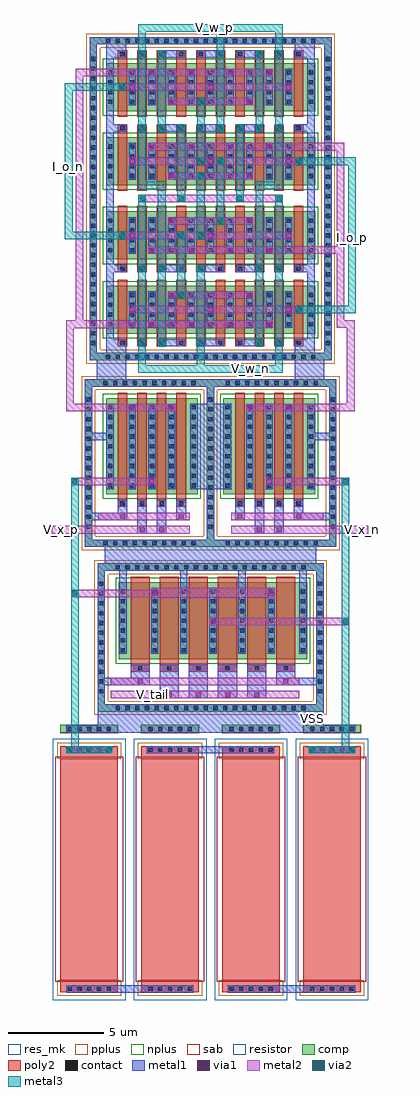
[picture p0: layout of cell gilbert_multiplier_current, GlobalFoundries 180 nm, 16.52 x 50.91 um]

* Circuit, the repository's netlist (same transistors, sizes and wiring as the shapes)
* NGSPICE file created from gilbert_multiplier_current.ext - technology: gf180mcuD

.subckt gilbert_multiplier_current VSS V_tail V_x_p V_x_n V_w_n V_w_p I_o_p I_o_n
X0 I_o_p V_w_p a_2162_8114# VSS nfet_03v3 ad=0.65p pd=3.02u as=0.65p ps=3.02u w=2.5u l=0.5u
X1 a_2162_8114# V_w_p I_o_p VSS nfet_03v3 ad=0.65p pd=3.02u as=0.65p ps=3.02u w=2.5u l=0.5u
X2 a_2799_3944# V_x_n a_2162_8114# VSS nfet_03v3 ad=1.3p pd=5.52u as=1.3p ps=5.52u w=5u l=0.5u
X3 a_2162_8114# V_w_n I_o_n VSS nfet_03v3 ad=0.65p pd=3.02u as=0.65p ps=3.02u w=2.5u l=0.5u
X4 I_o_p V_w_n a_1958_5664# VSS nfet_03v3 ad=0.65p pd=3.02u as=0.65p ps=3.02u w=2.5u l=0.5u
X5 a_2799_3944# V_tail VSS VSS nfet_03v3 ad=1.04p pd=4.52u as=1.04p ps=4.52u w=4u l=1u
X6 I_o_n VSS VSS VSS nfet_03v3 ad=0.65p pd=3.02u as=1.525p ps=6.22u w=2.5u l=0.5u
X7 I_o_n V_w_p a_1958_5664# VSS nfet_03v3 ad=0.65p pd=3.02u as=0.65p ps=3.02u w=2.5u l=0.5u
X8 I_o_p VSS VSS VSS nfet_03v3 ad=0.65p pd=3.02u as=1.525p ps=6.22u w=2.5u l=0.5u
X9 a_1958_5664# V_w_p I_o_n VSS nfet_03v3 ad=0.65p pd=3.02u as=0.65p ps=3.02u w=2.5u l=0.5u
X10 a_1958_5664# VSS VSS VSS nfet_03v3 ad=1.3p pd=5.52u as=3.05p ps=11.22u w=5u l=0.5u
X11 a_1958_5664# V_w_n I_o_p VSS nfet_03v3 ad=0.65p pd=3.02u as=0.65p ps=3.02u w=2.5u l=0.5u
X12 a_2162_8114# V_w_n I_o_n VSS nfet_03v3 ad=0.65p pd=3.02u as=0.65p ps=3.02u w=2.5u l=0.5u
X13 a_2162_8114# V_w_p I_o_p VSS nfet_03v3 ad=0.65p pd=3.02u as=0.65p ps=3.02u w=2.5u l=0.5u
X14 VSS VSS I_o_n VSS nfet_03v3 ad=1.525p pd=6.22u as=0.65p ps=3.02u w=2.5u l=0.5u
X15 I_o_p VSS VSS VSS nfet_03v3 ad=0.65p pd=3.02u as=1.525p ps=6.22u w=2.5u l=0.5u
X16 a_1260_2906# V_x_p a_1958_5664# VSS nfet_03v3 ad=1.3p pd=5.52u as=1.3p ps=5.52u w=5u l=0.5u
X17 a_1260_2906# VSS VSS VSS nfet_03v3 ad=1.04p pd=4.52u as=2.44p ps=9.22u w=4u l=1u
X18 VSS VSS a_2162_8114# VSS nfet_03v3 ad=3.05p pd=11.22u as=1.3p ps=5.52u w=5u l=0.5u
X19 VSS VSS I_o_p VSS nfet_03v3 ad=1.525p pd=6.22u as=0.65p ps=3.02u w=2.5u l=0.5u
X20 a_1260_2906# a_1260_468# VSS ppolyf_u_1k r_width=3u r_length=11.55u
X21 I_o_n VSS VSS VSS nfet_03v3 ad=0.65p pd=3.02u as=1.525p ps=6.22u w=2.5u l=0.5u
X22 a_1958_5664# V_w_n I_o_p VSS nfet_03v3 ad=0.65p pd=3.02u as=0.65p ps=3.02u w=2.5u l=0.5u
X23 VSS V_tail a_2799_3944# VSS nfet_03v3 ad=1.04p pd=4.52u as=1.04p ps=4.52u w=4u l=1u
X24 a_1958_5664# V_w_p I_o_n VSS nfet_03v3 ad=0.65p pd=3.02u as=0.65p ps=3.02u w=2.5u l=0.5u
X25 VSS VSS I_o_p VSS nfet_03v3 ad=1.525p pd=6.22u as=0.65p ps=3.02u w=2.5u l=0.5u
X26 a_2162_8114# V_w_p I_o_p VSS nfet_03v3 ad=0.65p pd=3.02u as=0.65p ps=3.02u w=2.5u l=0.5u
X27 a_2162_8114# V_w_n I_o_n VSS nfet_03v3 ad=0.65p pd=3.02u as=0.65p ps=3.02u w=2.5u l=0.5u
X28 VSS VSS a_1260_2906# VSS nfet_03v3 ad=2.44p pd=9.22u as=1.04p ps=4.52u w=4u l=1u
X29 VSS VSS I_o_n VSS nfet_03v3 ad=1.525p pd=6.22u as=0.65p ps=3.02u w=2.5u l=0.5u
X30 a_2162_8114# V_w_p I_o_p VSS nfet_03v3 ad=0.65p pd=3.02u as=0.65p ps=3.02u w=2.5u l=0.5u
X31 VSS VSS a_1958_5664# VSS nfet_03v3 ad=3.05p pd=11.22u as=1.3p ps=5.52u w=5u l=0.5u
X32 a_2162_8114# V_w_n I_o_n VSS nfet_03v3 ad=0.65p pd=3.02u as=0.65p ps=3.02u w=2.5u l=0.5u
X33 I_o_p V_w_p a_2162_8114# VSS nfet_03v3 ad=0.65p pd=3.02u as=0.65p ps=3.02u w=2.5u l=0.5u
X34 I_o_n V_w_n a_2162_8114# VSS nfet_03v3 ad=0.65p pd=3.02u as=0.65p ps=3.02u w=2.5u l=0.5u
X35 a_1958_5664# V_w_n I_o_p VSS nfet_03v3 ad=0.65p pd=3.02u as=0.65p ps=3.02u w=2.5u l=0.5u
X36 a_2162_8114# VSS VSS VSS nfet_03v3 ad=1.3p pd=5.52u as=3.05p ps=11.22u w=5u l=0.5u
X37 a_1958_5664# V_w_p I_o_n VSS nfet_03v3 ad=0.65p pd=3.02u as=0.65p ps=3.02u w=2.5u l=0.5u
X38 a_1958_5664# V_w_p I_o_n VSS nfet_03v3 ad=0.65p pd=3.02u as=0.65p ps=3.02u w=2.5u l=0.5u
X39 a_2104_2906# a_1260_468# VSS ppolyf_u_1k r_width=3u r_length=11.55u
X40 a_1958_5664# V_w_n I_o_p VSS nfet_03v3 ad=0.65p pd=3.02u as=0.65p ps=3.02u w=2.5u l=0.5u
X41 I_o_n V_w_p a_1958_5664# VSS nfet_03v3 ad=0.65p pd=3.02u as=0.65p ps=3.02u w=2.5u l=0.5u
X42 I_o_p V_w_p a_2162_8114# VSS nfet_03v3 ad=0.65p pd=3.02u as=0.65p ps=3.02u w=2.5u l=0.5u
X43 I_o_p V_w_n a_1958_5664# VSS nfet_03v3 ad=0.65p pd=3.02u as=0.65p ps=3.02u w=2.5u l=0.5u
X44 a_1958_5664# V_x_p a_1260_2906# VSS nfet_03v3 ad=1.3p pd=5.52u as=1.3p ps=5.52u w=5u l=0.5u
X45 I_o_n V_w_n a_2162_8114# VSS nfet_03v3 ad=0.65p pd=3.02u as=0.65p ps=3.02u w=2.5u l=0.5u
X46 I_o_n V_w_n a_2162_8114# VSS nfet_03v3 ad=0.65p pd=3.02u as=0.65p ps=3.02u w=2.5u l=0.5u
X47 a_2162_8114# V_x_n a_2799_3944# VSS nfet_03v3 ad=1.3p pd=5.52u as=1.3p ps=5.52u w=5u l=0.5u
X48 I_o_p V_w_p a_2162_8114# VSS nfet_03v3 ad=0.65p pd=3.02u as=0.65p ps=3.02u w=2.5u l=0.5u
X49 I_o_n V_w_p a_1958_5664# VSS nfet_03v3 ad=0.65p pd=3.02u as=0.65p ps=3.02u w=2.5u l=0.5u
X50 VSS V_tail a_1260_2906# VSS nfet_03v3 ad=1.04p pd=4.52u as=1.04p ps=4.52u w=4u l=1u
X51 I_o_p V_w_n a_1958_5664# VSS nfet_03v3 ad=0.65p pd=3.02u as=0.65p ps=3.02u w=2.5u l=0.5u
X52 I_o_p V_w_n a_1958_5664# VSS nfet_03v3 ad=0.65p pd=3.02u as=0.65p ps=3.02u w=2.5u l=0.5u
X53 a_2104_2906# a_2948_468# VSS ppolyf_u_1k r_width=3u r_length=11.55u
X54 a_2799_3944# a_2948_468# VSS ppolyf_u_1k r_width=3u r_length=11.55u
X55 I_o_n V_w_n a_2162_8114# VSS nfet_03v3 ad=0.65p pd=3.02u as=0.65p ps=3.02u w=2.5u l=0.5u
X56 a_1260_2906# V_tail VSS VSS nfet_03v3 ad=1.04p pd=4.52u as=1.04p ps=4.52u w=4u l=1u
X57 I_o_n V_w_p a_1958_5664# VSS nfet_03v3 ad=0.65p pd=3.02u as=0.65p ps=3.02u w=2.5u l=0.5u
.ends

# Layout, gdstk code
from math import pi, radians
import gdstk
lib = gdstk.Library(unit=1e-6, precision=5e-09)
def R(c, l, rs):  # rectangles x0, y0, x1, y1
    for r in rs: c.add(gdstk.rectangle(r[:2], r[2:], *l))
def A(c, l, x, y, w, h, nx, ny, dx, dy):  # array of equal rectangles
    R(c, l, [(x+i*dx, y+j*dy, x+i*dx+w, y+j*dy+h) for i in range(nx) for j in range(ny)])
def P(c, l, *ps):  # polygons
    for p in ps: c.add(gdstk.Polygon(p, *l))
comp = (22, 0)
poly2 = (30, 0)
pplus = (31, 0)
nplus = (32, 0)
contact = (33, 0)
metal1 = (34, 0)
via1 = (35, 0)
metal2 = (36, 0)
via2 = (38, 0)
metal3 = (42, 0)
sab = (49, 0)
resistor = (62, 0)
res_mk = (110, 5)

ppolyf_u_high_rs_resisto = lib.new_cell('ppolyf_u_high_Rs_resistor')
R(ppolyf_u_high_rs_resisto, comp, [(-1.76,0,-1.34,3)])
R(ppolyf_u_high_rs_resisto, poly2, [(-0.64,0,12.19,3)])
R(ppolyf_u_high_rs_resisto, pplus, [(-0.82,-0.18,0,3.18), (11.55,-0.18,12.37,3.18), (-1.78,-0.02,-1.32,3.02)])
A(ppolyf_u_high_rs_resisto, contact, -1.66, 0.37, 0.22, 0.22, 1, 5, 0, 0.51)
A(ppolyf_u_high_rs_resisto, contact, -0.57, 0.37, 0.22, 0.22, 1, 5, 0, 0.51)
A(ppolyf_u_high_rs_resisto, contact, 11.9, 0.37, 0.22, 0.22, 1, 5, 0, 0.51)
R(ppolyf_u_high_rs_resisto, metal1, [(-1.74,0.29,-1.36,2.71), (-0.65,0.29,-0.27,2.71), (11.82,0.29,12.2,2.71)])
R(ppolyf_u_high_rs_resisto, sab, [(-0.1,-0.28,11.65,3.28)])
R(ppolyf_u_high_rs_resisto, resistor, [(-1.04,-0.4,12.59,3.4)])
R(ppolyf_u_high_rs_resisto, res_mk, [(0,0,11.55,3)])

via_dev = lib.new_cell('via_dev')
R(via_dev, metal1, [(0,0,0.4,0.4)])
R(via_dev, via1, [(0.07,0.07,0.33,0.33)])
R(via_dev, metal2, [(0,0,0.4,0.4)])
R(via_dev, via2, [(0.07,0.07,0.33,0.33)])
R(via_dev, metal3, [(0,0,0.4,0.4)])

nfet = lib.new_cell('nfet')
R(nfet, comp, [(-0.42,0,0,5), (0,0,3.94,5), (3.94,0,4.36,5)])
P(nfet, comp, [(-1.28,-2.74),(-1.28,5.61),(-0.9,5.61),(-0.9,-2.36),(5.09,-2.36),(5.09,5.61),(-1.28,5.61),(-1.28,5.99),(5.47,5.99),(5.47,-2.74)])
A(nfet, poly2, 0.19, -0.66, 0.5, 0.36, 4, 1, 1.02, 0)
A(nfet, poly2, 0.19, -0.3, 0.5, 5.6, 4, 1, 1.02, 0)
P(nfet, pplus, [(-1.45,-2.91),(-1.45,5.44),(-0.73,5.44),(-0.73,-2.19),(4.92,-2.19),(4.92,5.44),(-1.45,5.44),(-1.45,6.16),(5.64,6.16),(5.64,-2.91)])
R(nfet, nplus, [(-0.59,-0.24,4.53,5.24)])
A(nfet, contact, -0.31, -2.66, 0.22, 0.22, 10, 2, 0.51, 8.35)
A(nfet, contact, -1.2, -1.8, 0.22, 0.22, 1, 14, 0, 0.51)
A(nfet, contact, 5.17, -1.8, 0.22, 0.22, 1, 14, 0, 0.51)
A(nfet, contact, 0.33, -0.59, 0.22, 0.22, 4, 1, 1.02, 0)
A(nfet, contact, -0.32, 0.35, 0.22, 0.22, 1, 9, 0, 0.51)
A(nfet, contact, 0.84, 0.35, 0.22, 0.22, 3, 9, 1.02, 0.51)
A(nfet, contact, 4.04, 0.35, 0.22, 0.22, 1, 9, 0, 0.51)
A(nfet, metal1, 0.25, -0.67, 0.38, 0.38, 4, 1, 1.02, 0)
A(nfet, metal1, 0.76, 0.27, 0.38, 4.46, 3, 1, 1.02, 0)
R(nfet, metal1, [(1.21,-2.05,1.71,-0.29), (2.23,-2.05,2.73,-0.29), (0.19,-1.36,0.69,-0.29), (3.25,-1.36,3.75,-0.29), (-0.4,0.27,-0.02,4.73), (3.96,0.27,4.34,4.73)])
R(nfet, via1, [(1.33,-1.98,1.59,-1.72), (2.35,-1.98,2.61,-1.72), (0.31,-1.29,0.57,-1.03), (3.37,-1.29,3.63,-1.03)])
R(nfet, metal2, [(0,-2.05,4.78,-1.65), (0,-1.36,4.78,-0.96)])

nfet_4 = lib.new_cell('nfet$4')
R(nfet_4, comp, [(-0.42,0,0,4), (0,0,8.98,4), (8.98,0,9.4,4)])
P(nfet_4, comp, [(-1.28,-2.74),(-1.28,4.61),(-0.9,4.61),(-0.9,-2.36),(10.13,-2.36),(10.13,4.61),(-1.28,4.61),(-1.28,4.99),(10.51,4.99),(10.51,-2.74)])
A(nfet_4, poly2, 0.19, -0.66, 1, 0.36, 6, 1, 1.52, 0)
A(nfet_4, poly2, 0.19, -0.3, 1, 4.6, 6, 1, 1.52, 0)
P(nfet_4, pplus, [(-1.45,-2.91),(-1.45,4.44),(-0.73,4.44),(-0.73,-2.19),(9.96,-2.19),(9.96,4.44),(-1.45,4.44),(-1.45,5.16),(10.68,5.16),(10.68,-2.91)])
R(nfet_4, nplus, [(-0.59,-0.24,9.57,4.24)])
A(nfet_4, contact, -0.34, -2.66, 0.22, 0.22, 20, 2, 0.51, 7.35)
A(nfet_4, contact, -1.2, -1.79, 0.22, 0.22, 1, 12, 0, 0.51)
A(nfet_4, contact, 10.21, -1.79, 0.22, 0.22, 1, 12, 0, 0.51)
A(nfet_4, contact, 0.58, -0.59, 0.22, 0.22, 6, 1, 1.52, 0)
A(nfet_4, contact, -0.32, 0.36, 0.22, 0.22, 1, 7, 0, 0.51)
A(nfet_4, contact, 1.34, 0.36, 0.22, 0.22, 5, 7, 1.52, 0.51)
A(nfet_4, contact, 9.08, 0.36, 0.22, 0.22, 1, 7, 0, 0.51)
A(nfet_4, metal1, 1.71, -2.05, 1, 1.76, 4, 1, 1.52, 0)
A(nfet_4, metal1, 0.5, -0.67, 0.38, 0.38, 6, 1, 1.52, 0)
A(nfet_4, metal1, 1.26, 0.28, 0.38, 3.44, 5, 1, 1.52, 0)
R(nfet_4, metal1, [(0.19,-1.36,1.19,-0.29), (7.79,-1.36,8.79,-0.29), (-0.4,0.28,-0.02,3.72), (9,0.28,9.38,3.72)])
A(nfet_4, via1, 2.08, -1.98, 0.26, 0.26, 4, 1, 1.52, 0)
R(nfet_4, via1, [(0.56,-1.29,0.82,-1.03), (8.16,-1.29,8.42,-1.03)])
R(nfet_4, metal2, [(0,-2.05,9.82,-1.65), (0,-1.36,9.82,-0.96)])

gilbert_multiplier_curre = lib.new_cell('gilbert_multiplier_current')
A(gilbert_multiplier_curre, comp, 8.68, 36.7, 0.42, 2.5, 1, 4, 0, 3.87)
A(gilbert_multiplier_curre, comp, 9.1, 36.7, 10.06, 2.5, 1, 4, 0, 3.87)
A(gilbert_multiplier_curre, comp, 19.16, 36.7, 0.42, 2.5, 1, 4, 0, 3.87)
P(gilbert_multiplier_curre, comp, [(7.82,35.31),(7.82,51.785),(8.2,51.785),(8.2,35.69),(20.06,35.69),(20.06,51.785),(7.82,51.785),(7.82,52.165),(20.44,52.165),(20.44,35.31)])
A(gilbert_multiplier_curre, poly2, 9.29, 36.04, 0.5, 0.36, 10, 2, 1.02, 3.87)
A(gilbert_multiplier_curre, poly2, 9.29, 36.4, 0.5, 3.1, 10, 4, 1.02, 3.87)
A(gilbert_multiplier_curre, poly2, 9.29, 47.24, 0.5, 0.36, 10, 2, 1.02, 3.87)
P(gilbert_multiplier_curre, pplus, [(7.65,35.14),(7.65,51.615),(8.37,51.615),(8.37,35.86),(19.89,35.86),(19.89,51.615),(7.65,51.615),(7.65,52.335),(20.61,52.335),(20.61,35.14)])
A(gilbert_multiplier_curre, nplus, 8.51, 36.46, 11.24, 2.98, 1, 4, 0, 3.87)
A(gilbert_multiplier_curre, contact, 8.665, 35.39, 0.22, 0.22, 22, 2, 0.51, 16.475)
A(gilbert_multiplier_curre, contact, 7.9, 36.1, 0.22, 0.22, 1, 23, 0, 0.51)
A(gilbert_multiplier_curre, contact, 20.14, 36.1, 0.22, 0.22, 1, 23, 0, 0.51)
A(gilbert_multiplier_curre, contact, 9.43, 36.11, 0.22, 0.22, 10, 2, 1.02, 3.87)
A(gilbert_multiplier_curre, contact, 8.78, 37.075, 0.22, 0.22, 1, 4, 0, 0.51)
A(gilbert_multiplier_curre, contact, 9.94, 37.075, 0.22, 0.22, 9, 4, 1.02, 0.51)
A(gilbert_multiplier_curre, contact, 19.26, 37.075, 0.22, 0.22, 1, 4, 0, 0.51)
A(gilbert_multiplier_curre, contact, 8.78, 40.945, 0.22, 0.22, 1, 4, 0, 0.51)
A(gilbert_multiplier_curre, contact, 9.94, 40.945, 0.22, 0.22, 9, 4, 1.02, 0.51)
A(gilbert_multiplier_curre, contact, 19.26, 40.945, 0.22, 0.22, 1, 4, 0, 0.51)
A(gilbert_multiplier_curre, contact, 8.78, 44.815, 0.22, 0.22, 1, 4, 0, 0.51)
A(gilbert_multiplier_curre, contact, 9.94, 44.815, 0.22, 0.22, 9, 4, 1.02, 0.51)
A(gilbert_multiplier_curre, contact, 19.26, 44.815, 0.22, 0.22, 1, 4, 0, 0.51)
A(gilbert_multiplier_curre, contact, 9.43, 47.31, 0.22, 0.22, 10, 2, 1.02, 3.87)
A(gilbert_multiplier_curre, contact, 7.9, 47.85, 0.22, 0.22, 1, 7, 0, 0.51)
A(gilbert_multiplier_curre, contact, 20.14, 47.85, 0.22, 0.22, 1, 7, 0, 0.51)
A(gilbert_multiplier_curre, contact, 8.78, 48.685, 0.22, 0.22, 1, 4, 0, 0.51)
A(gilbert_multiplier_curre, contact, 9.94, 48.685, 0.22, 0.22, 9, 4, 1.02, 0.51)
A(gilbert_multiplier_curre, contact, 19.26, 48.685, 0.22, 0.22, 1, 4, 0, 0.51)
A(gilbert_multiplier_curre, metal1, 9.35, 36.03, 0.38, 0.38, 10, 2, 1.02, 3.87)
A(gilbert_multiplier_curre, metal1, 8.7, 36.995, 0.38, 1.91, 1, 4, 0, 3.87)
A(gilbert_multiplier_curre, metal1, 9.86, 36.995, 0.38, 1.91, 9, 4, 1.02, 3.87)
A(gilbert_multiplier_curre, metal1, 19.18, 36.995, 0.38, 1.91, 1, 4, 0, 3.87)
A(gilbert_multiplier_curre, metal1, 9.35, 47.23, 0.38, 0.38, 10, 2, 1.02, 3.87)
R(gilbert_multiplier_curre, metal1, [(6.59,2.33,13.23,2.71), (15.03,2.33,21.67,2.71), (10.81,14.8,17.45,15.18), (6.59,15.89,21.67,16.27), (8.235,15.89,20.025,17.36), (8.615,24.33,19.645,25.96), (13.06,28.59,15.2,33.05), (8.2,33.93,9.73,35.69), (18.53,33.93,20.06,35.69), (8.7,35.31,9.73,36.41), (18.53,35.31,19.56,36.41), (8.7,51.1,9.73,52.165), (18.53,51.1,19.56,52.165)])
A(gilbert_multiplier_curre, via1, 6.65, 14.86, 0.26, 0.26, 3, 1, 1.02, 0)
A(gilbert_multiplier_curre, via1, 19.31, 14.86, 0.26, 0.26, 3, 1, 1.02, 0)
A(gilbert_multiplier_curre, via1, 10.94, 37.055, 0.26, 0.26, 4, 2, 2.04, 3.865)
A(gilbert_multiplier_curre, via1, 9.92, 37.82, 0.26, 0.26, 3, 2, 4.08, 3.865)
A(gilbert_multiplier_curre, via1, 9.92, 45.56, 0.26, 0.26, 3, 2, 4.08, 3.87)
A(gilbert_multiplier_curre, via1, 10.94, 46.325, 0.26, 0.26, 4, 2, 2.04, 3.87)
R(gilbert_multiplier_curre, via1, [(14.13,21.56,14.39,21.82), (11.08,23.03,11.34,23.29), (17.17,23.03,17.43,23.29), (10.94,28.86,11.2,29.12), (17.05,28.86,17.31,29.12), (9.92,32.73,10.18,32.99), (11.96,32.73,12.22,32.99), (16.04,32.73,16.3,32.99), (18.08,32.73,18.34,32.99), (11.96,38.58,12.22,38.84), (16.04,38.58,16.3,38.84), (11.96,42.445,12.22,42.705), (16.04,42.445,16.3,42.705), (11.96,44.8,12.22,45.06), (16.04,44.8,16.3,45.06), (11.96,48.67,12.22,48.93), (16.04,48.67,16.3,48.93)])
R(gilbert_multiplier_curre, metal2, [(6.59,14.8,9.01,15.18), (19.25,14.8,21.67,15.18), (11.025,22.93,17.485,23.44), (9.86,32.65,12.28,33.05), (15.98,32.65,18.4,33.05)])
A(gilbert_multiplier_curre, via2, 6.65, 14.86, 0.26, 0.26, 3, 1, 1.02, 0)
A(gilbert_multiplier_curre, via2, 19.31, 14.86, 0.26, 0.26, 3, 1, 1.02, 0)
R(gilbert_multiplier_curre, via2, [(21.04,21.55,21.3,21.81), (6.915,23.02,7.175,23.28), (6.915,28.86,7.175,29.12), (21.04,28.86,21.3,29.12), (18.63,37.82,18.89,38.08), (12.47,38.59,12.73,38.85), (9.39,41.68,9.65,41.94), (12.47,41.7,12.73,41.96), (13.48,41.7,13.74,41.96), (14.5,42.46,14.76,42.72), (10.45,43.61,10.71,43.87), (12.47,43.61,12.73,43.87), (15.53,43.61,15.79,43.87), (17.57,43.61,17.83,43.87), (13.48,44.8,13.74,45.06), (14.5,45.56,14.76,45.82), (13.49,45.57,13.75,45.83), (18.63,45.57,18.89,45.83), (13.49,48.67,13.75,48.93), (9.39,49.43,9.65,49.69)])
R(gilbert_multiplier_curre, metal3, [(6.59,14.8,9.01,15.18), (19.25,14.8,21.67,15.18)])
gilbert_multiplier_curre.add(gdstk.FlexPath([(9.35,36.22),(8.89,36.22),(8.89,51.29),(9.35,51.29),(9.35,51.29)], 0.38, ends="flush", simple_path=True, layer=34, datatype=0))  # metal1
gilbert_multiplier_curre.add(gdstk.FlexPath([(18.91,36.22),(19.37,36.22),(19.37,51.29),(18.91,51.29)], 0.38, ends="flush", simple_path=True, layer=34, datatype=0))  # metal1
gilbert_multiplier_curre.add(gdstk.FlexPath([(9.73,47.42),(8.7,47.42)], 0.38, ends="flush", simple_path=True, layer=34, datatype=0))  # metal1
gilbert_multiplier_curre.add(gdstk.FlexPath([(9.73,40.09),(8.7,40.09)], 0.38, ends="flush", simple_path=True, layer=34, datatype=0))  # metal1
gilbert_multiplier_curre.add(gdstk.FlexPath([(18.53,47.42),(19.56,47.42)], 0.38, ends="flush", simple_path=True, layer=34, datatype=0))  # metal1
gilbert_multiplier_curre.add(gdstk.FlexPath([(18.53,40.09),(19.56,40.09)], 0.38, ends="flush", simple_path=True, layer=34, datatype=0))  # metal1
gilbert_multiplier_curre.add(gdstk.FlexPath([(11.39,51.29),(12.79,51.29)], 0.38, ends="flush", simple_path=True, layer=34, datatype=0))  # metal1
gilbert_multiplier_curre.add(gdstk.FlexPath([(15.47,51.29),(16.87,51.29)], 0.38, ends="flush", simple_path=True, layer=34, datatype=0))  # metal1
gilbert_multiplier_curre.add(gdstk.FlexPath([(11.39,47.42),(12.79,47.42)], 0.38, ends="flush", simple_path=True, layer=34, datatype=0))  # metal1
gilbert_multiplier_curre.add(gdstk.FlexPath([(15.47,47.42),(16.87,47.42)], 0.38, ends="flush", simple_path=True, layer=34, datatype=0))  # metal1
gilbert_multiplier_curre.add(gdstk.FlexPath([(11.39,40.09),(12.79,40.09)], 0.38, ends="flush", simple_path=True, layer=34, datatype=0))  # metal1
gilbert_multiplier_curre.add(gdstk.FlexPath([(16.87,40.09),(15.47,40.09)], 0.38, ends="flush", simple_path=True, layer=34, datatype=0))  # metal1
gilbert_multiplier_curre.add(gdstk.FlexPath([(11.39,36.22),(12.79,36.22),(12.79,36.22)], 0.38, ends="flush", simple_path=True, layer=34, datatype=0))  # metal1
gilbert_multiplier_curre.add(gdstk.FlexPath([(13.43,36.22),(14.83,36.22)], 0.38, ends="flush", simple_path=True, layer=34, datatype=0))  # metal1
gilbert_multiplier_curre.add(gdstk.FlexPath([(15.47,36.22),(16.87,36.22)], 0.38, ends="flush", simple_path=True, layer=34, datatype=0))  # metal1
gilbert_multiplier_curre.add(gdstk.FlexPath([(13.43,40.09),(14.83,40.09)], 0.38, ends="flush", simple_path=True, layer=34, datatype=0))  # metal1
gilbert_multiplier_curre.add(gdstk.FlexPath([(13.43,47.42),(14.83,47.42)], 0.38, ends="flush", simple_path=True, layer=34, datatype=0))  # metal1
gilbert_multiplier_curre.add(gdstk.FlexPath([(13.43,51.29),(14.83,51.29)], 0.38, ends="flush", simple_path=True, layer=34, datatype=0))  # metal1
gilbert_multiplier_curre.add(gdstk.FlexPath([(8.665,51.975),(20.25,51.975),(20.25,35.5),(8.01,35.5),(8.01,51.975),(8.665,51.975)], 0.38, ends="flush", simple_path=True, layer=34, datatype=0))  # metal1
gilbert_multiplier_curre.add(gdstk.FlexPath([(14.13,33.93),(14.13,25.96)], 0.38, ends="flush", simple_path=True, layer=34, datatype=0))  # metal1
gilbert_multiplier_curre.add(gdstk.FlexPath([(7.76,33.37),(7.76,25.77),(20.5,25.77),(20.5,34.12),(7.76,34.12),(7.76,33.37)], 0.38, ends="flush", simple_path=True, layer=34, datatype=0))  # metal1
gilbert_multiplier_curre.add(gdstk.FlexPath([(9.79,27.16),(7.57,27.16)], 0.4, ends="flush", simple_path=True, layer=34, datatype=0))  # metal1
gilbert_multiplier_curre.add(gdstk.FlexPath([(18.47,27.16),(20.69,27.16)], 0.4, ends="flush", simple_path=True, layer=34, datatype=0))  # metal1
gilbert_multiplier_curre.add(gdstk.FlexPath([(8.7,31.33),(7.95,31.33)], 0.4, ends="flush", simple_path=True, layer=34, datatype=0))  # metal1
gilbert_multiplier_curre.add(gdstk.FlexPath([(19.56,31.33),(20.31,31.33)], 0.4, ends="flush", simple_path=True, layer=34, datatype=0))  # metal1
gilbert_multiplier_curre.add(gdstk.FlexPath([(18.955,23.44),(18.955,24.33)], 0.38, ends="flush", simple_path=True, layer=34, datatype=0))  # metal1
gilbert_multiplier_curre.add(gdstk.FlexPath([(9.555,23.44),(9.555,24.33)], 0.38, ends="flush", simple_path=True, layer=34, datatype=0))  # metal1
gilbert_multiplier_curre.add(gdstk.FlexPath([(15.775,23.44),(15.775,24.33)], 0.38, ends="flush", simple_path=True, layer=34, datatype=0))  # metal1
gilbert_multiplier_curre.add(gdstk.FlexPath([(12.735,23.44),(12.735,24.33)], 0.38, ends="flush", simple_path=True, layer=34, datatype=0))  # metal1
gilbert_multiplier_curre.add(gdstk.FlexPath([(10.955,18.56),(8.615,18.56)], 0.4, ends="flush", simple_path=True, layer=34, datatype=0))  # metal1
gilbert_multiplier_curre.add(gdstk.FlexPath([(8.425,17.93),(8.425,24.52),(19.835,24.52),(19.835,17.17),(9.175,17.17),(9.175,17.17),(8.425,17.17),(8.425,17.93)], 0.38, ends="flush", simple_path=True, layer=34, datatype=0))  # metal1
gilbert_multiplier_curre.add(gdstk.FlexPath([(20.025,18.56),(17.555,18.56)], 0.4, ends="flush", simple_path=True, layer=34, datatype=0))  # metal1
gilbert_multiplier_curre.add(gdstk.FlexPath([(10.88,50.32),(17.38,50.32)], 0.4, ends="flush", simple_path=True, layer=36, datatype=0))  # metal2
gilbert_multiplier_curre.add(gdstk.FlexPath([(9.29,49.56),(18.4,49.56)], 0.4, ends="flush", simple_path=True, layer=36, datatype=0))  # metal2
gilbert_multiplier_curre.add(gdstk.FlexPath([(11.9,48.8),(16.36,48.8)], 0.4, ends="flush", simple_path=True, layer=36, datatype=0))  # metal2
gilbert_multiplier_curre.add(gdstk.FlexPath([(10.88,46.45),(17.38,46.45)], 0.4, ends="flush", simple_path=True, layer=36, datatype=0))  # metal2
gilbert_multiplier_curre.add(gdstk.FlexPath([(9.86,45.69),(18.97,45.69)], 0.4, ends="flush", simple_path=True, layer=36, datatype=0))  # metal2
gilbert_multiplier_curre.add(gdstk.FlexPath([(11.9,44.93),(16.36,44.93)], 0.4, ends="flush", simple_path=True, layer=36, datatype=0))  # metal2
gilbert_multiplier_curre.add(gdstk.FlexPath([(9.86,37.95),(18.97,37.95)], 0.4, ends="flush", simple_path=True, layer=36, datatype=0))  # metal2
gilbert_multiplier_curre.add(gdstk.FlexPath([(11.9,38.71),(16.36,38.71)], 0.4, ends="flush", simple_path=True, layer=36, datatype=0))  # metal2
gilbert_multiplier_curre.add(gdstk.FlexPath([(10.88,41.06),(17.38,41.06)], 0.4, ends="flush", simple_path=True, layer=36, datatype=0))  # metal2
gilbert_multiplier_curre.add(gdstk.FlexPath([(9.29,41.82),(18.4,41.82)], 0.4, ends="flush", simple_path=True, layer=36, datatype=0))  # metal2
gilbert_multiplier_curre.add(gdstk.FlexPath([(11.9,42.58),(16.36,42.58)], 0.4, ends="flush", simple_path=True, layer=36, datatype=0))  # metal2
gilbert_multiplier_curre.add(gdstk.FlexPath([(17.38,46.45),(20.9,46.45),(20.9,41.06),(17.38,41.06)], 0.4, ends="flush", simple_path=True, layer=36, datatype=0))  # metal2
gilbert_multiplier_curre.add(gdstk.FlexPath([(10.88,50.32),(7.3,50.32),(7.3,37.19),(10.88,37.19)], 0.4, ends="flush", simple_path=True, layer=36, datatype=0))  # metal2
gilbert_multiplier_curre.add(gdstk.FlexPath([(10.36,43.74),(17.9,43.74)], 0.4, ends="flush", simple_path=True, layer=36, datatype=0))  # metal2
gilbert_multiplier_curre.add(gdstk.FlexPath([(10.88,37.19),(17.38,37.19)], 0.4, ends="flush", simple_path=True, layer=36, datatype=0))  # metal2
gilbert_multiplier_curre.add(gdstk.FlexPath([(20.9,40.86),(20.9,37)], 0.4, ends="flush", simple_path=True, layer=36, datatype=0))  # metal2
gilbert_multiplier_curre.add(gdstk.FlexPath([(18.4,32.85),(21.44,32.85),(21.44,37.2),(21.1,37.2)], 0.4, ends="flush", simple_path=True, layer=36, datatype=0))  # metal2
gilbert_multiplier_curre.add(gdstk.FlexPath([(9.86,32.85),(6.79,32.85),(6.79,37.19),(7.1,37.19)], 0.4, ends="flush", simple_path=True, layer=36, datatype=0))  # metal2
gilbert_multiplier_curre.add(gdstk.FlexPath([(11.025,23.15),(6.85,23.15)], 0.4, ends="flush", simple_path=True, layer=36, datatype=0))  # metal2
gilbert_multiplier_curre.add(gdstk.FlexPath([(14.065,21.69),(21.37,21.69)], 0.4, ends="flush", simple_path=True, layer=36, datatype=0))  # metal2
gilbert_multiplier_curre.add(gdstk.FlexPath([(11.26,28.99),(6.85,28.99)], 0.4, ends="flush", simple_path=True, layer=36, datatype=0))  # metal2
gilbert_multiplier_curre.add(gdstk.FlexPath([(17,28.99),(21.37,28.99)], 0.4, ends="flush", simple_path=True, layer=36, datatype=0))  # metal2
gilbert_multiplier_curre.add(gdstk.FlexPath([(8.26,26.47),(5.84,26.47)], 0.4, ends="flush", simple_path=True, layer=36, datatype=0))  # metal2
gilbert_multiplier_curre.add(gdstk.FlexPath([(20,26.47),(22.35,26.47)], 0.4, ends="flush", simple_path=True, layer=36, datatype=0))  # metal2
gilbert_multiplier_curre.add(gdstk.FlexPath([(9.71,49.56),(6.73,49.56),(6.73,41.82),(9.71,41.82)], 0.4, ends="flush", simple_path=True, layer=42, datatype=0))  # metal3
gilbert_multiplier_curre.add(gdstk.FlexPath([(17.7,40.29),(17.7,36.02)], 0.4, ends="flush", simple_path=True, layer=42, datatype=0))  # metal3
gilbert_multiplier_curre.add(gdstk.FlexPath([(16.68,36.02),(16.68,40.29)], 0.4, ends="flush", simple_path=True, layer=42, datatype=0))  # metal3
gilbert_multiplier_curre.add(gdstk.FlexPath([(13.62,40.29),(13.62,36.02)], 0.4, ends="flush", simple_path=True, layer=42, datatype=0))  # metal3
gilbert_multiplier_curre.add(gdstk.FlexPath([(11.58,36.02),(11.58,40.29)], 0.4, ends="flush", simple_path=True, layer=42, datatype=0))  # metal3
gilbert_multiplier_curre.add(gdstk.FlexPath([(10.56,40.29),(10.56,36.02)], 0.4, ends="flush", simple_path=True, layer=42, datatype=0))  # metal3
gilbert_multiplier_curre.add(gdstk.FlexPath([(10.56,47.21),(10.56,51.49)], 0.4, ends="flush", simple_path=True, layer=42, datatype=0))  # metal3
gilbert_multiplier_curre.add(gdstk.FlexPath([(11.58,51.49),(11.58,47.21)], 0.4, ends="flush", simple_path=True, layer=42, datatype=0))  # metal3
gilbert_multiplier_curre.add(gdstk.FlexPath([(14.64,47.21),(14.64,51.49)], 0.4, ends="flush", simple_path=True, layer=42, datatype=0))  # metal3
gilbert_multiplier_curre.add(gdstk.FlexPath([(16.68,51.49),(16.68,47.21)], 0.4, ends="flush", simple_path=True, layer=42, datatype=0))  # metal3
gilbert_multiplier_curre.add(gdstk.FlexPath([(17.7,47.21),(17.7,51.49)], 0.4, ends="flush", simple_path=True, layer=42, datatype=0))  # metal3
gilbert_multiplier_curre.add(gdstk.FlexPath([(10.56,47.21),(10.56,44.44),(11.58,44.44),(11.58,40.29)], 0.4, ends="flush", simple_path=True, layer=42, datatype=0))  # metal3
gilbert_multiplier_curre.add(gdstk.FlexPath([(16.68,40.29),(16.68,44.44),(17.7,44.44),(17.7,47.21)], 0.4, ends="flush", simple_path=True, layer=42, datatype=0))  # metal3
gilbert_multiplier_curre.add(gdstk.FlexPath([(10.56,40.29),(10.56,43.94)], 0.4, ends="flush", simple_path=True, layer=42, datatype=0))  # metal3
gilbert_multiplier_curre.add(gdstk.FlexPath([(17.7,40.29),(17.7,43.94)], 0.4, ends="flush", simple_path=True, layer=42, datatype=0))  # metal3
gilbert_multiplier_curre.add(gdstk.FlexPath([(10.56,51.49),(10.56,52.65),(17.7,52.65),(17.7,51.49)], 0.4, ends="flush", simple_path=True, layer=42, datatype=0))  # metal3
gilbert_multiplier_curre.add(gdstk.FlexPath([(14.64,51.49),(14.64,52.45)], 0.4, ends="flush", simple_path=True, layer=42, datatype=0))  # metal3
gilbert_multiplier_curre.add(gdstk.FlexPath([(10.56,36.02),(10.56,34.86),(17.7,34.86),(17.7,36.02)], 0.4, ends="flush", simple_path=True, layer=42, datatype=0))  # metal3
gilbert_multiplier_curre.add(gdstk.FlexPath([(13.62,36.02),(13.62,35.06)], 0.4, ends="flush", simple_path=True, layer=42, datatype=0))  # metal3
gilbert_multiplier_curre.add(gdstk.FlexPath([(12.6,43.54),(12.6,47.6)], 0.4, ends="flush", simple_path=True, layer=42, datatype=0))  # metal3
gilbert_multiplier_curre.add(gdstk.FlexPath([(15.66,43.54),(15.66,47.6)], 0.4, ends="flush", simple_path=True, layer=42, datatype=0))  # metal3
gilbert_multiplier_curre.add(gdstk.FlexPath([(13.63,49),(13.63,45.49)], 0.4, ends="flush", simple_path=True, layer=42, datatype=0))  # metal3
gilbert_multiplier_curre.add(gdstk.FlexPath([(18.57,45.69),(21.51,45.69),(21.51,37.95),(18.57,37.95)], 0.4, ends="flush", simple_path=True, layer=42, datatype=0))  # metal3
gilbert_multiplier_curre.add(gdstk.FlexPath([(7.05,29.19),(7.05,22.95)], 0.4, ends="flush", simple_path=True, layer=42, datatype=0))  # metal3
gilbert_multiplier_curre.add(gdstk.FlexPath([(21.17,29.19),(21.17,21.49)], 0.4, ends="flush", simple_path=True, layer=42, datatype=0))  # metal3
gilbert_multiplier_curre.add(gdstk.FlexPath([(7.05,22.95),(7.05,15.18)], 0.4, ends="flush", simple_path=True, layer=42, datatype=0))  # metal3
gilbert_multiplier_curre.add(gdstk.FlexPath([(21.17,21.49),(21.17,15.18)], 0.4, ends="flush", simple_path=True, layer=42, datatype=0))  # metal3
gilbert_multiplier_curre.add(gdstk.FlexPath([(13.62,45.13),(13.62,41.62)], 0.4, ends="flush", simple_path=True, layer=42, datatype=0))  # metal3
gilbert_multiplier_curre.add(gdstk.FlexPath([(12.6,42.02),(12.6,38.51)], 0.4, ends="flush", simple_path=True, layer=42, datatype=0))  # metal3
gilbert_multiplier_curre.add(gdstk.FlexPath([(14.64,45.89),(14.64,42.38)], 0.4, ends="flush", simple_path=True, layer=42, datatype=0))  # metal3
gilbert_multiplier_curre.add(gdstk.Reference(ppolyf_u_high_rs_resisto, (10.52,14.53), rotation=3*pi/2))
gilbert_multiplier_curre.add(gdstk.Reference(ppolyf_u_high_rs_resisto, (14.74,14.53), rotation=3*pi/2))
gilbert_multiplier_curre.add(gdstk.Reference(ppolyf_u_high_rs_resisto, (18.96,14.53), rotation=3*pi/2))
gilbert_multiplier_curre.add(gdstk.Reference(ppolyf_u_high_rs_resisto, (6.3,14.53), rotation=3*pi/2))
gilbert_multiplier_curre.add(gdstk.Reference(via_dev, (16.48,51.09)))
gilbert_multiplier_curre.add(gdstk.Reference(via_dev, (14.44,51.09)))
gilbert_multiplier_curre.add(gdstk.Reference(via_dev, (11.38,51.09)))
gilbert_multiplier_curre.add(gdstk.Reference(via_dev, (17.5,51.09)))
gilbert_multiplier_curre.add(gdstk.Reference(via_dev, (10.36,51.09)))
gilbert_multiplier_curre.add(gdstk.Reference(via_dev, (14.84,47.21), rotation=pi, x_reflection=True))
gilbert_multiplier_curre.add(gdstk.Reference(via_dev, (17.9,47.21), rotation=pi, x_reflection=True))
gilbert_multiplier_curre.add(gdstk.Reference(via_dev, (10.76,47.21), rotation=pi, x_reflection=True))
gilbert_multiplier_curre.add(gdstk.Reference(via_dev, (16.48,39.89)))
gilbert_multiplier_curre.add(gdstk.Reference(via_dev, (13.42,39.89)))
gilbert_multiplier_curre.add(gdstk.Reference(via_dev, (11.38,39.89)))
gilbert_multiplier_curre.add(gdstk.Reference(via_dev, (17.5,39.89)))
gilbert_multiplier_curre.add(gdstk.Reference(via_dev, (10.36,39.89)))
gilbert_multiplier_curre.add(gdstk.Reference(via_dev, (11.78,36.02), rotation=pi, x_reflection=True))
gilbert_multiplier_curre.add(gdstk.Reference(via_dev, (13.82,36.02), rotation=pi, x_reflection=True))
gilbert_multiplier_curre.add(gdstk.Reference(via_dev, (16.88,36.02), rotation=pi, x_reflection=True))
gilbert_multiplier_curre.add(gdstk.Reference(via_dev, (10.76,36.02), rotation=pi, x_reflection=True))
gilbert_multiplier_curre.add(gdstk.Reference(via_dev, (17.9,36.02), rotation=pi, x_reflection=True))
gilbert_multiplier_curre.add(gdstk.Reference(nfet, (13.04,28.32), rotation=pi, x_reflection=True))
gilbert_multiplier_curre.add(gdstk.Reference(nfet, (15.22,28.32)))
gilbert_multiplier_curre.add(gdstk.Reference(nfet_4, (18.745,19.72), rotation=pi, x_reflection=True))
gilbert_multiplier_curre.add(gdstk.Reference(via_dev, (16.88,47.21), rotation=pi, x_reflection=True))
gilbert_multiplier_curre.add(gdstk.Reference(via_dev, (11.78,47.21), rotation=pi, x_reflection=True))
gilbert_multiplier_curre.add(gdstk.Reference(via_dev, (12.8,47.21), rotation=pi, x_reflection=True))
gilbert_multiplier_curre.add(gdstk.Reference(via_dev, (15.86,47.21), rotation=pi, x_reflection=True))
gilbert_multiplier_curre.add(gdstk.Label('VSS', (19.47,16.625), layer=34, texttype=10))
gilbert_multiplier_curre.add(gdstk.Label('V_tail', (11.085,17.87), layer=36, texttype=10))
gilbert_multiplier_curre.add(gdstk.Label('V_x_p', (6.34,26.47), layer=36, texttype=10))
gilbert_multiplier_curre.add(gdstk.Label('V_x_n', (22.08,26.47), layer=36, texttype=10))
gilbert_multiplier_curre.add(gdstk.Label('V_w_n', (16.23,34.86), layer=42, texttype=10))
gilbert_multiplier_curre.add(gdstk.Label('V_w_p', (14.355,52.65), layer=42, texttype=10))
gilbert_multiplier_curre.add(gdstk.Label('I_o_p', (21.51,41.72), layer=42, texttype=10))
gilbert_multiplier_curre.add(gdstk.Label('I_o_n', (6.73,45.41), layer=42, texttype=10))

lib.write_gds('gilbert_multiplier_current.gds')
